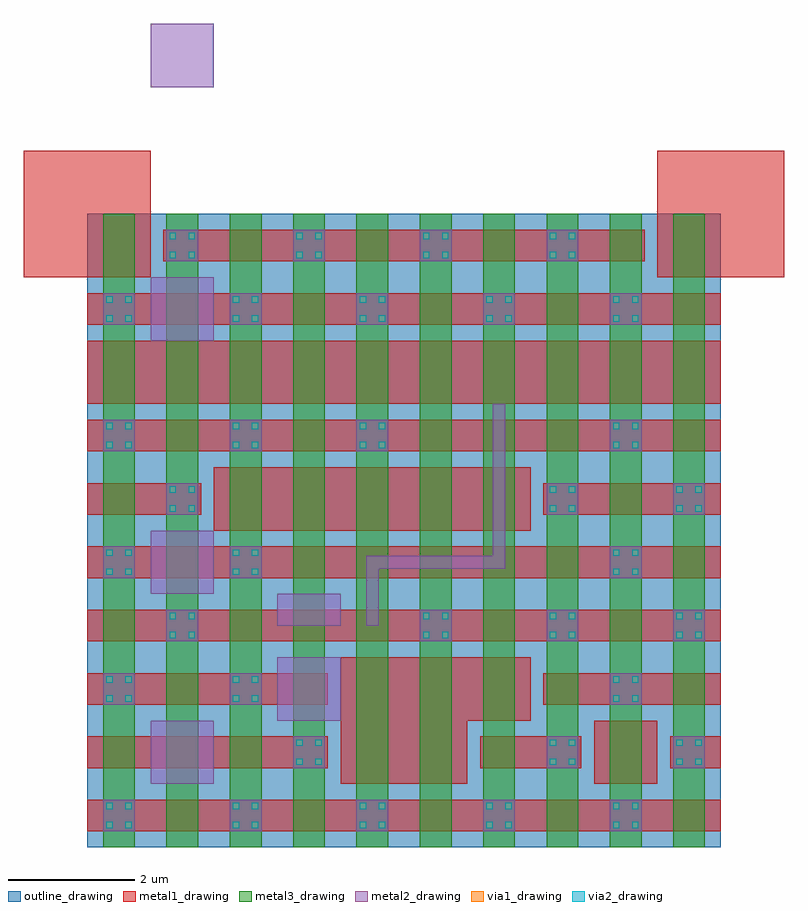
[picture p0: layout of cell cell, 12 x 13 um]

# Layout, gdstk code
import gdstk
lib = gdstk.Library(unit=1e-6, precision=1e-09)
def R(c, l, rs):  # rectangles x0, y0, x1, y1
    for r in rs: c.add(gdstk.rectangle(r[:2], r[2:], *l))
def A(c, l, x, y, w, h, nx, ny, dx, dy):  # array of equal rectangles
    R(c, l, [(x+i*dx, y+j*dy, x+i*dx+w, y+j*dy+h) for i in range(nx) for j in range(ny)])
metal1_drawing = (8, 0)
via1_drawing = (9, 0)
metal2_drawing = (10, 0)
via2_drawing = (11, 0)
metal3_drawing = (12, 0)
outline_drawing = (255, 255)

cell = lib.new_cell('cell')
A(cell, metal1_drawing, 0.25, 0.25, 0.5, 0.5, 5, 2, 2, 8)
A(cell, metal1_drawing, 4, 2, 2, 1, 3, 1, 0.5, 0)
A(cell, metal1_drawing, 8.25, 2.25, 0.5, 0.5, 1, 3, 0, 2)
A(cell, metal1_drawing, 5.25, 3.25, 0.5, 0.5, 3, 1, 2, 0)
A(cell, metal1_drawing, 0, 4.25, 10, 0.5, 1, 3, 0, 2)
A(cell, metal1_drawing, 0.25, 6.25, 0.5, 0.5, 3, 1, 2, 0)
A(cell, metal1_drawing, 1.25, 9.25, 0.5, 0.5, 4, 1, 2, 0)
R(cell, metal1_drawing, [(0,0.25,10,0.75), (4,1,6,2), (8,1,9,2), (0,1.25,3.8,1.75), (3.25,1.25,3.75,1.75), (6.2,1.25,7.8,1.75), (7.25,1.25,7.75,1.75), (9.2,1.25,10,1.75), (9.25,1.25,9.75,1.75), (0,2.25,3.8,2.75), (0.25,2.25,0.75,2.75), (2.25,2.25,2.75,2.75), (7.2,2.25,10,2.75), (0,3.25,10,3.75), (1.25,3.25,1.75,3.75), (0.25,4.25,0.75,4.75), (2.25,4.25,2.75,4.75), (2,5,7,6), (0,5.25,1.8,5.75), (1.25,5.25,1.75,5.75), (7.2,5.25,10,5.75), (7.25,5.25,7.75,5.75), (9.25,5.25,9.75,5.75), (0,7,10,8), (-1,9,1,11), (9,9,11,11), (1.2,9.25,8.8,9.75)])
R(cell, via1_drawing, [(0.3,0.3,0.4,0.4), (0.6,0.3,0.7,0.4), (2.3,0.3,2.4,0.4), (2.6,0.3,2.7,0.4), (4.3,0.3,4.4,0.4), (4.6,0.3,4.7,0.4), (6.3,0.3,6.4,0.4), (6.6,0.3,6.7,0.4), (8.3,0.3,8.4,0.4), (8.6,0.3,8.7,0.4), (0.3,0.6,0.4,0.7), (0.6,0.6,0.7,0.7), (2.3,0.6,2.4,0.7), (2.6,0.6,2.7,0.7), (4.3,0.6,4.4,0.7), (4.6,0.6,4.7,0.7), (6.3,0.6,6.4,0.7), (6.6,0.6,6.7,0.7), (8.3,0.6,8.4,0.7), (8.6,0.6,8.7,0.7), (3.3,1.3,3.4,1.4), (3.6,1.3,3.7,1.4), (7.3,1.3,7.4,1.4), (7.6,1.3,7.7,1.4), (9.3,1.3,9.4,1.4), (9.6,1.3,9.7,1.4), (3.3,1.6,3.4,1.7), (3.6,1.6,3.7,1.7), (7.3,1.6,7.4,1.7), (7.6,1.6,7.7,1.7), (9.3,1.6,9.4,1.7), (9.6,1.6,9.7,1.7), (0.3,2.3,0.4,2.4), (0.6,2.3,0.7,2.4), (2.3,2.3,2.4,2.4), (2.6,2.3,2.7,2.4), (8.3,2.3,8.4,2.4), (8.6,2.3,8.7,2.4), (0.3,2.6,0.4,2.7), (0.6,2.6,0.7,2.7), (2.3,2.6,2.4,2.7), (2.6,2.6,2.7,2.7), (8.3,2.6,8.4,2.7), (8.6,2.6,8.7,2.7), (1.3,3.3,1.4,3.4), (1.6,3.3,1.7,3.4), (5.3,3.3,5.4,3.4), (5.6,3.3,5.7,3.4), (7.3,3.3,7.4,3.4), (7.6,3.3,7.7,3.4), (9.3,3.3,9.4,3.4), (9.6,3.3,9.7,3.4), (1.3,3.6,1.4,3.7), (1.6,3.6,1.7,3.7), (5.3,3.6,5.4,3.7), (5.6,3.6,5.7,3.7), (7.3,3.6,7.4,3.7), (7.6,3.6,7.7,3.7), (9.3,3.6,9.4,3.7), (9.6,3.6,9.7,3.7), (0.3,4.3,0.4,4.4), (0.6,4.3,0.7,4.4), (2.3,4.3,2.4,4.4), (2.6,4.3,2.7,4.4), (8.3,4.3,8.4,4.4), (8.6,4.3,8.7,4.4), (0.3,4.6,0.4,4.7), (0.6,4.6,0.7,4.7), (2.3,4.6,2.4,4.7), (2.6,4.6,2.7,4.7), (8.3,4.6,8.4,4.7), (8.6,4.6,8.7,4.7), (1.3,5.3,1.4,5.4), (1.6,5.3,1.7,5.4), (7.3,5.3,7.4,5.4), (7.6,5.3,7.7,5.4), (9.3,5.3,9.4,5.4), (9.6,5.3,9.7,5.4), (1.3,5.6,1.4,5.7), (1.6,5.6,1.7,5.7), (7.3,5.6,7.4,5.7), (7.6,5.6,7.7,5.7), (9.3,5.6,9.4,5.7), (9.6,5.6,9.7,5.7), (0.3,6.3,0.4,6.4), (0.6,6.3,0.7,6.4), (2.3,6.3,2.4,6.4), (2.6,6.3,2.7,6.4), (4.3,6.3,4.4,6.4), (4.6,6.3,4.7,6.4), (8.3,6.3,8.4,6.4), (8.6,6.3,8.7,6.4), (0.3,6.6,0.4,6.7), (0.6,6.6,0.7,6.7), (2.3,6.6,2.4,6.7), (2.6,6.6,2.7,6.7), (4.3,6.6,4.4,6.7), (4.6,6.6,4.7,6.7), (8.3,6.6,8.4,6.7), (8.6,6.6,8.7,6.7), (0.3,8.3,0.4,8.4), (0.6,8.3,0.7,8.4), (2.3,8.3,2.4,8.4), (2.6,8.3,2.7,8.4), (4.3,8.3,4.4,8.4), (4.6,8.3,4.7,8.4), (6.3,8.3,6.4,8.4), (6.6,8.3,6.7,8.4), (8.3,8.3,8.4,8.4), (8.6,8.3,8.7,8.4), (0.3,8.6,0.4,8.7), (0.6,8.6,0.7,8.7), (2.3,8.6,2.4,8.7), (2.6,8.6,2.7,8.7), (4.3,8.6,4.4,8.7), (4.6,8.6,4.7,8.7), (6.3,8.6,6.4,8.7), (6.6,8.6,6.7,8.7), (8.3,8.6,8.4,8.7), (8.6,8.6,8.7,8.7), (1.3,9.3,1.4,9.4), (1.6,9.3,1.7,9.4), (3.3,9.3,3.4,9.4), (3.6,9.3,3.7,9.4), (5.3,9.3,5.4,9.4), (5.6,9.3,5.7,9.4), (7.3,9.3,7.4,9.4), (7.6,9.3,7.7,9.4), (1.3,9.6,1.4,9.7), (1.6,9.6,1.7,9.7), (3.3,9.6,3.4,9.7), (3.6,9.6,3.7,9.7), (5.3,9.6,5.4,9.7), (5.6,9.6,5.7,9.7), (7.3,9.6,7.4,9.7), (7.6,9.6,7.7,9.7)])
A(cell, metal2_drawing, 0.25, 0.25, 0.5, 0.5, 5, 2, 2, 8)
A(cell, metal2_drawing, 8.25, 2.25, 0.5, 0.5, 1, 3, 0, 2)
A(cell, metal2_drawing, 5.25, 3.25, 0.5, 0.5, 3, 1, 2, 0)
A(cell, metal2_drawing, 1, 4, 1, 1, 1, 3, 0, 4)
A(cell, metal2_drawing, 0.25, 6.25, 0.5, 0.5, 3, 1, 2, 0)
A(cell, metal2_drawing, 1.25, 9.25, 0.5, 0.5, 4, 1, 2, 0)
R(cell, metal2_drawing, [(1,1,2,2), (3.25,1.25,3.75,1.75), (7.25,1.25,7.75,1.75), (9.25,1.25,9.75,1.75), (3,2,4,3), (0.25,2.25,0.75,2.75), (2.25,2.25,2.75,2.75), (1.25,3.25,1.75,3.75), (3,3.5,4,4), (0.25,4.25,0.75,4.75), (2.25,4.25,2.75,4.75), (1.25,5.25,1.75,5.75), (7.25,5.25,7.75,5.75), (9.25,5.25,9.75,5.75)])
R(cell, via2_drawing, [(0.3,0.3,0.4,0.4), (0.6,0.3,0.7,0.4), (2.3,0.3,2.4,0.4), (2.6,0.3,2.7,0.4), (4.3,0.3,4.4,0.4), (4.6,0.3,4.7,0.4), (6.3,0.3,6.4,0.4), (6.6,0.3,6.7,0.4), (8.3,0.3,8.4,0.4), (8.6,0.3,8.7,0.4), (0.3,0.6,0.4,0.7), (0.6,0.6,0.7,0.7), (2.3,0.6,2.4,0.7), (2.6,0.6,2.7,0.7), (4.3,0.6,4.4,0.7), (4.6,0.6,4.7,0.7), (6.3,0.6,6.4,0.7), (6.6,0.6,6.7,0.7), (8.3,0.6,8.4,0.7), (8.6,0.6,8.7,0.7), (3.3,1.3,3.4,1.4), (3.6,1.3,3.7,1.4), (7.3,1.3,7.4,1.4), (7.6,1.3,7.7,1.4), (9.3,1.3,9.4,1.4), (9.6,1.3,9.7,1.4), (3.3,1.6,3.4,1.7), (3.6,1.6,3.7,1.7), (7.3,1.6,7.4,1.7), (7.6,1.6,7.7,1.7), (9.3,1.6,9.4,1.7), (9.6,1.6,9.7,1.7), (0.3,2.3,0.4,2.4), (0.6,2.3,0.7,2.4), (2.3,2.3,2.4,2.4), (2.6,2.3,2.7,2.4), (8.3,2.3,8.4,2.4), (8.6,2.3,8.7,2.4), (0.3,2.6,0.4,2.7), (0.6,2.6,0.7,2.7), (2.3,2.6,2.4,2.7), (2.6,2.6,2.7,2.7), (8.3,2.6,8.4,2.7), (8.6,2.6,8.7,2.7), (1.3,3.3,1.4,3.4), (1.6,3.3,1.7,3.4), (5.3,3.3,5.4,3.4), (5.6,3.3,5.7,3.4), (7.3,3.3,7.4,3.4), (7.6,3.3,7.7,3.4), (9.3,3.3,9.4,3.4), (9.6,3.3,9.7,3.4), (1.3,3.6,1.4,3.7), (1.6,3.6,1.7,3.7), (5.3,3.6,5.4,3.7), (5.6,3.6,5.7,3.7), (7.3,3.6,7.4,3.7), (7.6,3.6,7.7,3.7), (9.3,3.6,9.4,3.7), (9.6,3.6,9.7,3.7), (0.3,4.3,0.4,4.4), (0.6,4.3,0.7,4.4), (2.3,4.3,2.4,4.4), (2.6,4.3,2.7,4.4), (8.3,4.3,8.4,4.4), (8.6,4.3,8.7,4.4), (0.3,4.6,0.4,4.7), (0.6,4.6,0.7,4.7), (2.3,4.6,2.4,4.7), (2.6,4.6,2.7,4.7), (8.3,4.6,8.4,4.7), (8.6,4.6,8.7,4.7), (1.3,5.3,1.4,5.4), (1.6,5.3,1.7,5.4), (7.3,5.3,7.4,5.4), (7.6,5.3,7.7,5.4), (9.3,5.3,9.4,5.4), (9.6,5.3,9.7,5.4), (1.3,5.6,1.4,5.7), (1.6,5.6,1.7,5.7), (7.3,5.6,7.4,5.7), (7.6,5.6,7.7,5.7), (9.3,5.6,9.4,5.7), (9.6,5.6,9.7,5.7), (0.3,6.3,0.4,6.4), (0.6,6.3,0.7,6.4), (2.3,6.3,2.4,6.4), (2.6,6.3,2.7,6.4), (4.3,6.3,4.4,6.4), (4.6,6.3,4.7,6.4), (8.3,6.3,8.4,6.4), (8.6,6.3,8.7,6.4), (0.3,6.6,0.4,6.7), (0.6,6.6,0.7,6.7), (2.3,6.6,2.4,6.7), (2.6,6.6,2.7,6.7), (4.3,6.6,4.4,6.7), (4.6,6.6,4.7,6.7), (8.3,6.6,8.4,6.7), (8.6,6.6,8.7,6.7), (0.3,8.3,0.4,8.4), (0.6,8.3,0.7,8.4), (2.3,8.3,2.4,8.4), (2.6,8.3,2.7,8.4), (4.3,8.3,4.4,8.4), (4.6,8.3,4.7,8.4), (6.3,8.3,6.4,8.4), (6.6,8.3,6.7,8.4), (8.3,8.3,8.4,8.4), (8.6,8.3,8.7,8.4), (0.3,8.6,0.4,8.7), (0.6,8.6,0.7,8.7), (2.3,8.6,2.4,8.7), (2.6,8.6,2.7,8.7), (4.3,8.6,4.4,8.7), (4.6,8.6,4.7,8.7), (6.3,8.6,6.4,8.7), (6.6,8.6,6.7,8.7), (8.3,8.6,8.4,8.7), (8.6,8.6,8.7,8.7), (1.3,9.3,1.4,9.4), (1.6,9.3,1.7,9.4), (3.3,9.3,3.4,9.4), (3.6,9.3,3.7,9.4), (5.3,9.3,5.4,9.4), (5.6,9.3,5.7,9.4), (7.3,9.3,7.4,9.4), (7.6,9.3,7.7,9.4), (1.3,9.6,1.4,9.7), (1.6,9.6,1.7,9.7), (3.3,9.6,3.4,9.7), (3.6,9.6,3.7,9.7), (5.3,9.6,5.4,9.7), (5.6,9.6,5.7,9.7), (7.3,9.6,7.4,9.7), (7.6,9.6,7.7,9.7)])
A(cell, metal3_drawing, 0.25, 0, 0.5, 10, 10, 1, 1, 0)
A(cell, metal3_drawing, 0.25, 0.25, 0.5, 0.5, 5, 2, 2, 8)
A(cell, metal3_drawing, 8.25, 2.25, 0.5, 0.5, 1, 3, 0, 2)
A(cell, metal3_drawing, 5.25, 3.25, 0.5, 0.5, 3, 1, 2, 0)
A(cell, metal3_drawing, 0.25, 6.25, 0.5, 0.5, 3, 1, 2, 0)
A(cell, metal3_drawing, 1.25, 9.25, 0.5, 0.5, 4, 1, 2, 0)
R(cell, metal3_drawing, [(3.25,1.25,3.75,1.75), (7.25,1.25,7.75,1.75), (9.25,1.25,9.75,1.75), (0.25,2.25,0.75,2.75), (2.25,2.25,2.75,2.75), (1.25,3.25,1.75,3.75), (0.25,4.25,0.75,4.75), (2.25,4.25,2.75,4.75), (1.25,5.25,1.75,5.75), (7.25,5.25,7.75,5.75), (9.25,5.25,9.75,5.75)])
R(cell, outline_drawing, [(0,0,10,10)])
cell.add(gdstk.FlexPath([(4.5,3.5),(4.5,4.5),(6.5,4.5),(6.5,7)], 0.2, ends="flush", simple_path=True, layer=10, datatype=0))  # metal2_drawing

lib.write_gds('cell.gds')
